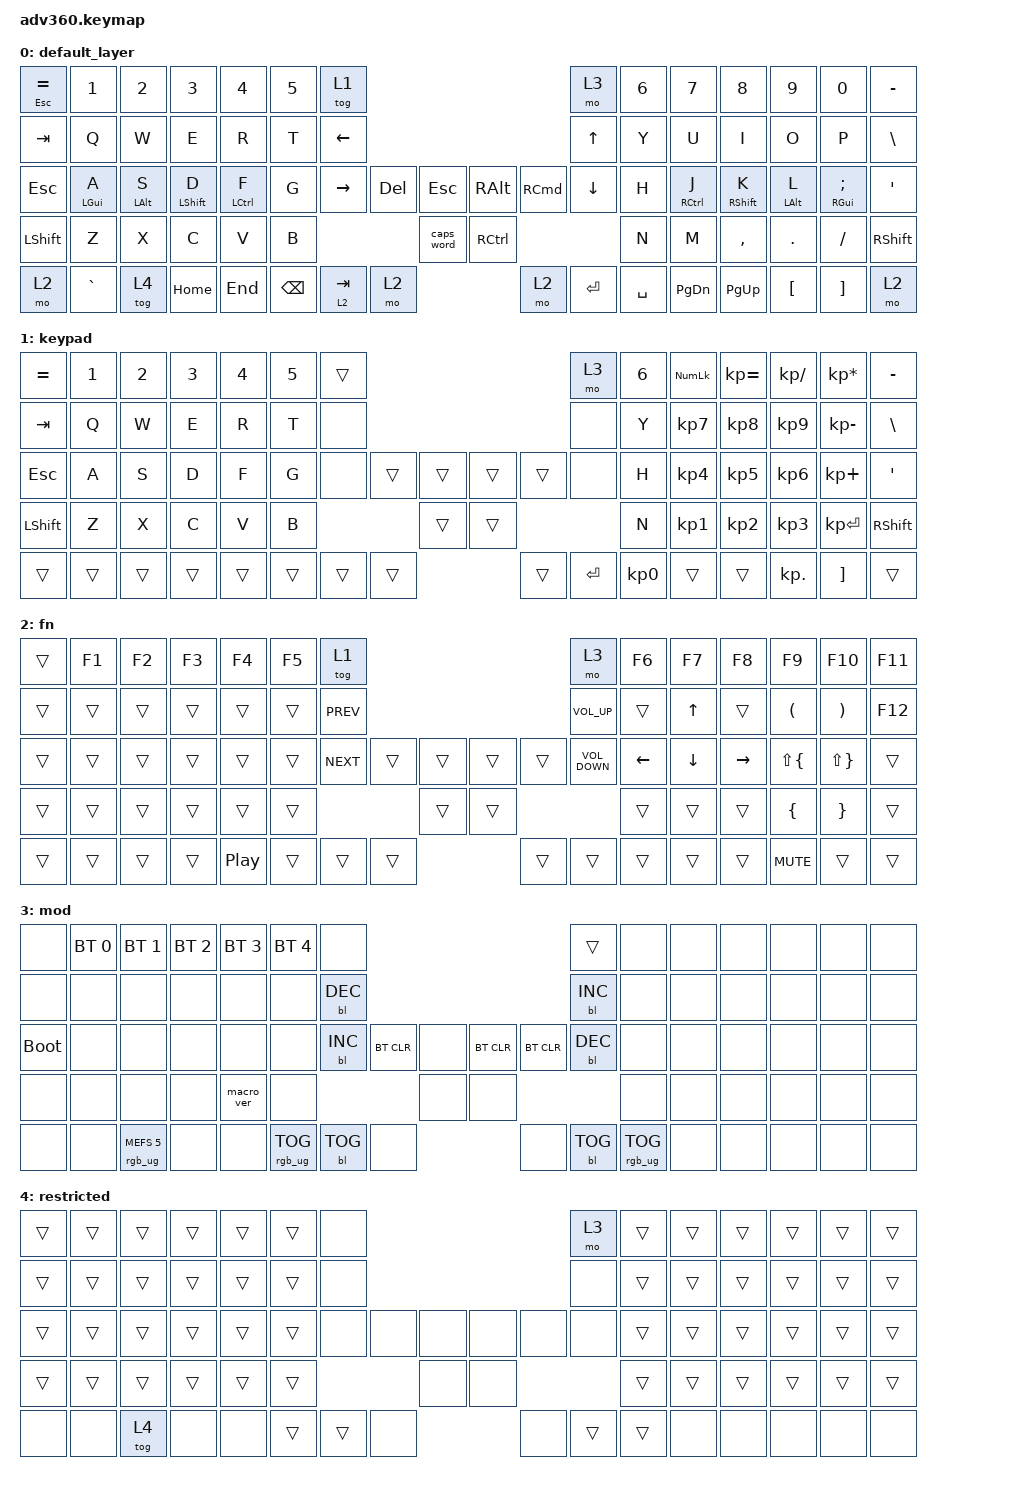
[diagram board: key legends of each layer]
#include <behaviors.dtsi>
#include <dt-bindings/zmk/keys.h>
#include <dt-bindings/zmk/bt.h>
#include <dt-bindings/zmk/rgb.h>
#include <dt-bindings/zmk/backlight.h>

/ {
    behaviors {
      #include "macros.dtsi"
      #include "version.dtsi"
      #ifndef VERSION_MACRO
      macro_ver: macro_ver {
        compatible = "zmk,behavior-macro";
        label = "macro_version";
        #binding-cells = <0>;
        bindings = <&kp RET>;
      };
      #endif

      hm: homerow_mods {
          compatible = "zmk,behavior-hold-tap";
          label = "HOMEROW_MODS";
          #binding-cells = <2>;
          tapping-term-ms = <200>;
          quick_tap_ms = <175>;
          flavor = "tap-preferred";
          bindings = <&kp>, <&kp>;
      };

      gqt: global-quick-tap {
          compatible = "zmk,behavior-hold-tap";
          label = "GLOBAL_QUICK_TAP";
          #binding-cells = <2>;
          flavor = "tap-preferred";
          tapping-term-ms = <200>;
          quick-tap-ms = <125>;
          global-quick-tap;
          bindings = <&kp>, <&kp>;
      };
    };

  keymap {
    compatible = "zmk,keymap";

    default_layer {
      bindings = <
        &mt ESC EQUAL &kp N1     &kp N2     &kp N3      &kp N4     &kp N5 &tog 1                                                                            &mo 3    &kp N6 &kp N7     &kp N8      &kp N9     &kp N0        &kp MINUS
        &kp TAB       &kp Q      &kp W      &kp E       &kp R      &kp T  &kp LEFT                                                                          &kp UP   &kp Y  &kp U      &kp I       &kp O      &kp P         &kp BSLH
        &kp ESC       &hm LGUI A &hm LALT S &hm LSHFT D &hm LCTL F &kp G  &kp RIGHT          &kp DEL   &kp ESC    &kp RIGHT_ALT &kp RIGHT_COMMAND           &kp DOWN &kp H  &hm RCTL J &hm RSHFT K &hm LALT L &hm RGUI SEMI &kp SQT
        &kp LSHFT     &kp Z      &kp X      &kp C       &kp V      &kp B                               &caps_word &kp RCTRL                                          &kp N  &kp M      &kp COMMA   &kp DOT    &kp FSLH      &kp RSHFT
        &mo 2         &kp GRAVE  &tog 4     &kp HOME    &kp END                     &kp BSPC &lt 2 TAB &mo 2      &mo 2         &kp ENTER         &kp SPACE               &kp PG_DN  &kp PG_UP   &kp LBKT   &kp RBKT      &mo 2
      >;
    };
    keypad {
      bindings = <
        &kp EQUAL &kp N1 &kp N2 &kp N3 &kp N4     &kp N5 &trans                                                 &mo 3 &kp N6 &kp KP_NUM &kp KP_EQUAL &kp KP_DIVIDE &kp KP_MULTIPLY &kp MINUS
        &kp TAB   &kp Q  &kp W  &kp E  &kp R      &kp T  &none                                                  &none &kp Y  &kp KP_N7  &kp KP_N8    &kp KP_N9     &kp KP_MINUS    &kp BSLH
        &kp ESC   &kp A  &kp S  &kp D  &kp F      &kp G  &none         &trans &trans &trans &trans              &none &kp H  &kp KP_N4  &kp KP_N5    &kp KP_N6     &kp KP_PLUS     &kp SQT
        &kp LSHFT &kp Z  &kp X  &kp C  &kp V      &kp B                       &trans &trans                           &kp N  &kp KP_N1  &kp KP_N2    &kp KP_N3     &kp KP_ENTER    &kp RSHFT
        &trans    &trans &trans &trans &trans                   &trans &trans &trans &trans &kp ENTER &kp KP_N0              &trans     &trans       &kp KP_DOT    &kp RBKT        &trans
      >;
    };
    fn {
      bindings = <
        &trans &kp F1 &kp F2 &kp F3 &kp F4           &kp F5 &tog 1                                               &mo 3             &kp F6   &kp F7   &kp F8    &kp F9       &kp F10      &kp F11
        &trans &trans &trans &trans &trans           &trans &kp C_PREV                                           &kp C_VOLUME_UP   &trans   &kp UP   &trans    &kp LPAR     &kp RPAR     &kp F12
        &trans &trans &trans &trans &trans           &trans &kp C_NEXT        &trans &trans &trans &trans        &kp C_VOLUME_DOWN &kp LEFT &kp DOWN &kp RIGHT &kp LS(LBRC) &kp LS(RBRC) &trans
        &trans &trans &trans &trans &trans           &trans                          &trans &trans                                 &trans   &trans   &trans    &kp LBRC     &kp RBRC     &trans
        &trans &trans &trans &trans &kp C_PLAY_PAUSE                   &trans &trans &trans &trans &trans &trans                            &trans   &trans    &kp K_MUTE   &trans       &trans
      >;
    };
    mod {
      bindings = <
        &none       &bt BT_SEL 0 &bt BT_SEL 1           &bt BT_SEL 2 &bt BT_SEL 3 &bt BT_SEL 4 &none                                                                                    &trans     &none &none &none &none &none &none
        &none       &none        &none                  &none        &none        &none        &bl BL_DEC                                                                               &bl BL_INC &none &none &none &none &none &none
        &bootloader &none        &none                  &none        &none        &none        &bl BL_INC                        &bt BT_CLR &none &bt BT_CLR &bt BT_CLR                 &bl BL_DEC &none &none &none &none &none &none
        &none       &none        &none                  &none        &macro_ver   &none                                                     &none &none                                            &none &none &none &none &none &none
        &none       &none        &rgb_ug RGB_MEFS_CMD 5 &none        &none                                       &rgb_ug RGB_TOG &bl BL_TOG &none &none      &bl BL_TOG &rgb_ug RGB_TOG                  &none &none &none &none &none
      >;
    };
    restricted {
      bindings = <
        &trans &trans &trans &trans &trans &trans &none                                          &mo 3 &trans &trans &trans &trans &trans &trans
        &trans &trans &trans &trans &trans &trans &none                                          &none &trans &trans &trans &trans &trans &trans
        &trans &trans &trans &trans &trans &trans &none        &none  &none  &none &none         &none &trans &trans &trans &trans &trans &trans
        &trans &trans &trans &trans &trans &trans                     &none  &none                     &trans &trans &trans &trans &trans &trans
        &none  &none  &tog 4 &none  &none               &trans &trans &none  &none &trans &trans              &none  &none  &none  &none  &none
      >;
    };
  };
};
